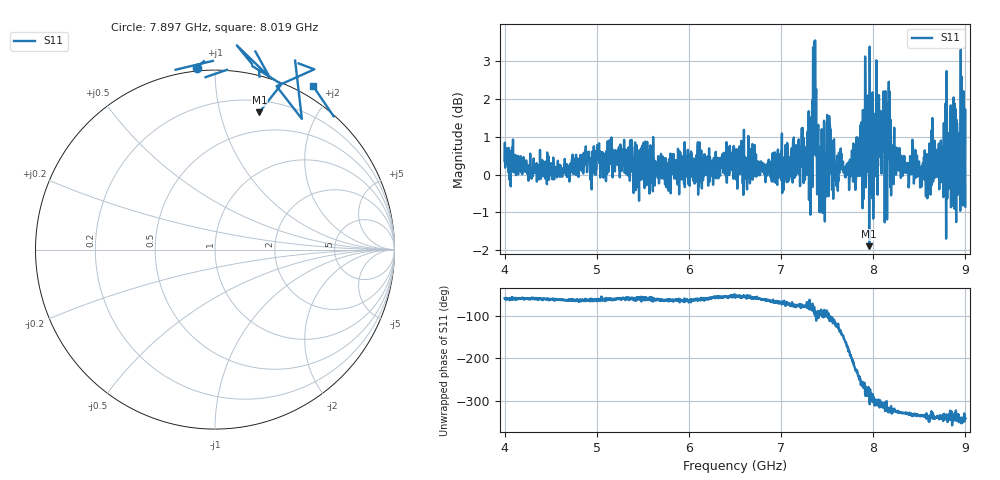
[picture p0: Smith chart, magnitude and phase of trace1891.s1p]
! Created with skrf 1.8.0 (http://scikit-rf.org).
# Hz S RI R 50.0
!freq ReS11 ImS11
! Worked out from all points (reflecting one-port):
!   1601 points, 4 GHz to 9 GHz, reference 50 ohm
!   lowest |S11| = -1.9 dB at 7.956 GHz (marker M1), VSWR 9.22, Z = 15.3 + j66.4 ohm
!   phase of S11 starts at -57 deg and turns -284 deg over the sweep
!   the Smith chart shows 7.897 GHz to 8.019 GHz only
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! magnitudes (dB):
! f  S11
! 4 GHz  0.4
! 4.625 GHz  -0.1
! 5.25 GHz  -0.1
! 5.875 GHz  0.0
! 6.5 GHz  0.5
! 7.125 GHz  -0.2
! 7.294 GHz  0.8
! 7.319 GHz  -1.1
! 7.356 GHz  3.0
! 7.372 GHz  2.2
! 7.409 GHz  -0.2
! 7.434 GHz  -0.9
! 7.512 GHz  1.3
! 7.606 GHz  0.3
! 7.75 GHz  0.0
! 7.881 GHz  1.4
! 7.928 GHz  1.5
! 7.956 GHz  -1.9
! 8.066 GHz  0.6
! 8.097 GHz  0.7
! 8.178 GHz  2.2
! 8.209 GHz  0.6
! 8.375 GHz  0.1
! 8.597 GHz  -0.1
! 8.819 GHz  -0.4
! 8.919 GHz  -0.2
! 8.972 GHz  0.6
! 9 GHz  -0.8
